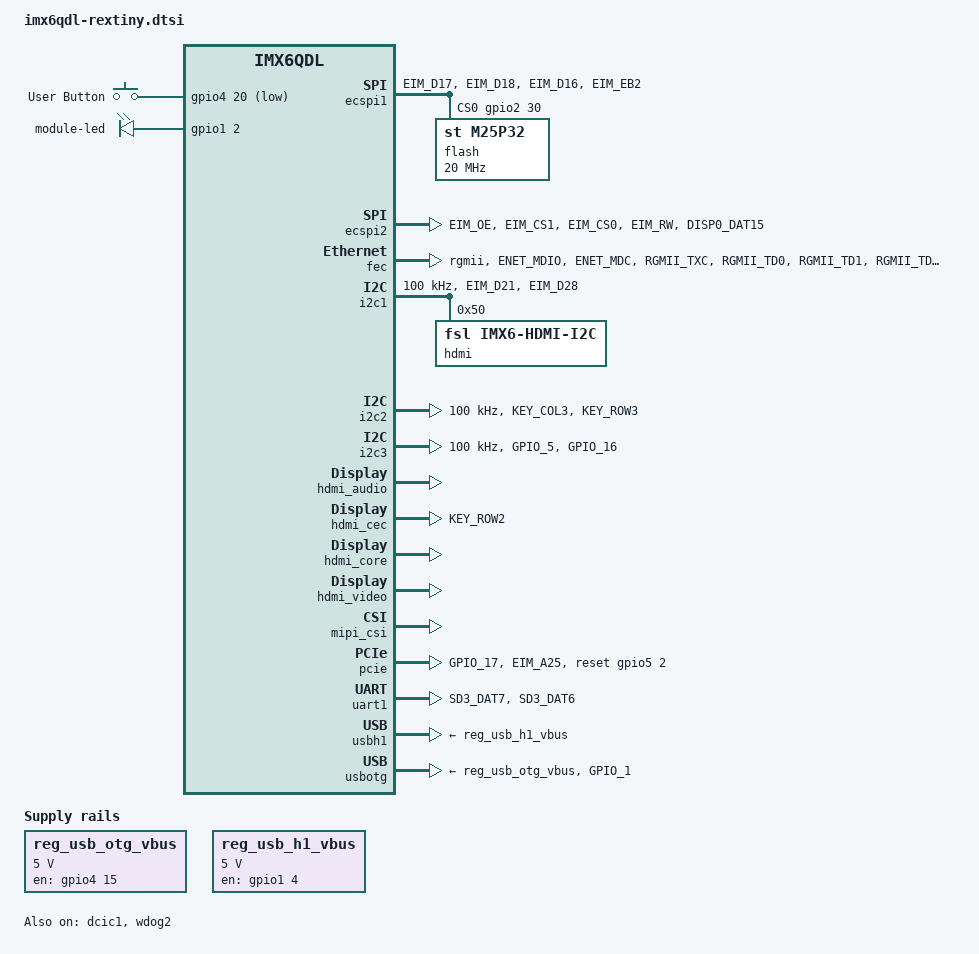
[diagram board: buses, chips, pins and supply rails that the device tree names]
/*
 * Copyright (C) 2015 Voipac.
 *
 * The code contained herein is licensed under the GNU General Public
 * License. You may obtain a copy of the GNU General Public License
 * Version 2 or later at the following locations:
 *
 * http://www.opensource.org/licenses/gpl-license.html
 * http://www.gnu.org/copyleft/gpl.html
 */

#include <dt-bindings/input/input.h>

/ {
	aliases {
		mxcfb0 = &mxcfb1;
		mxcfb1 = &mxcfb2;
		mxcfb2 = &mxcfb3;
		mxcfb3 = &mxcfb4;
	};

	gpio-keys {
		compatible = "gpio-keys";
		pinctrl-names = "default";
		pinctrl-0 = <&pinctrl_gpio_keys>;

		user {
			label = "User Button";
			gpios = <&gpio4 20 1>;
			gpio-key,wakeup;
			linux,code = <KEY_POWER>;
		};
	};

	leds {
		compatible = "gpio-leds";

		module-led {
			gpios = <&gpio1 2 0>;
			linux,default-trigger = "heartbeat";
			retain-state-suspended;
		};
	};

	mxcfb1: fb@0 {
		compatible = "fsl,mxc_sdc_fb";
		disp_dev = "hdmi";
		interface_pix_fmt = "RGB24";
		mode_str ="1920x1080M@60";
		default_bpp = <24>;
		int_clk = <0>;
		late_init = <0>;
		status = "disabled";
	};

	mxcfb2: fb@1 {
		compatible = "fsl,mxc_sdc_fb";
		disp_dev = "ldb";
		interface_pix_fmt = "RGB666";
		default_bpp = <16>;
		int_clk = <0>;
		late_init = <0>;
		status = "disabled";
	};

	mxcfb3: fb@2 {
		compatible = "fsl,mxc_sdc_fb";
		disp_dev = "lcd";
		interface_pix_fmt = "RGB565";
		mode_str ="CLAA-WVGA";
		default_bpp = <16>;
		int_clk = <0>;
		late_init = <0>;
		status = "disabled";
	};

	mxcfb4: fb@3 {
		compatible = "fsl,mxc_sdc_fb";
		disp_dev = "ldb";
		interface_pix_fmt = "RGB666";
		default_bpp = <16>;
		int_clk = <0>;
		late_init = <0>;
		status = "disabled";
	};

	regulators {
		compatible = "simple-bus";
		#address-cells = <1>;
		#size-cells = <0>;

		reg_usb_otg_vbus: regulator@0 {
			compatible = "regulator-fixed";
			reg = <0>;
			regulator-name = "usb_otg_vbus";
			regulator-min-microvolt = <5000000>;
			regulator-max-microvolt = <5000000>;
			gpio = <&gpio4 15 0>;
			enable-active-high;
		};

		reg_usb_h1_vbus: regulator@1 {
			compatible = "regulator-fixed";
			reg = <1>;
			regulator-name = "usb_h1_vbus";
			regulator-min-microvolt = <5000000>;
			regulator-max-microvolt = <5000000>;
			gpio = <&gpio1 4 0>;
			enable-active-high;
		};
	};

	sound-hdmi {
		compatible = "fsl,imx6q-audio-hdmi",
			     "fsl,imx-audio-hdmi";
		model = "imx-audio-hdmi";
		hdmi-controller = <&hdmi_audio>;
	};

	v4l2_cap_0 {
		compatible = "fsl,imx6q-v4l2-capture";
		ipu_id = <0>;
		csi_id = <0>;
		mclk_source = <0>;
		status = "okay";
	};

	v4l2_cap_1 {
		compatible = "fsl,imx6q-v4l2-capture";
		ipu_id = <0>;
		csi_id = <1>;
		mclk_source = <0>;
		status = "okay";
	};

	v4l2_out {
		compatible = "fsl,mxc_v4l2_output";
		status = "okay";
	};
};

&ecspi1 {
	fsl,spi-num-chipselects = <1>;
	cs-gpios = <&gpio2 30 0>;
	pinctrl-names = "default";
	pinctrl-0 = <&pinctrl_ecspi1>;
	status = "okay";

	flash: m25p80@0 {
		#address-cells = <1>;
		#size-cells = <1>;
		compatible = "st,m25p32";
		spi-max-frequency = <20000000>;
		reg = <0>;
	};
};

&ecspi2 {
	fsl,spi-num-chipselects = <2>;
	cs-gpios = <&gpio2 26 0>, <&gpio5 9 0>;
	pinctrl-names = "default";
	pinctrl-0 = <&pinctrl_ecspi2>;
	status = "okay";
};

&fec {
	pinctrl-names = "default";
	pinctrl-0 = <&pinctrl_enet>;
	phy-mode = "rgmii";
	phy-reset-gpios = <&gpio1 25 0>;
	fsl,magic-packet;
	status = "okay";
};

&i2c1 {
	clock-frequency = <100000>;
	pinctrl-names = "default";
	pinctrl-0 = <&pinctrl_i2c1>;
	status = "okay";

	hdmi: edid@50 {
		compatible = "fsl,imx6-hdmi-i2c";
		reg = <0x50>;
	};
};

&i2c2 {
	clock-frequency = <100000>;
	pinctrl-names = "default";
	pinctrl-0 = <&pinctrl_i2c2>;
	status = "okay";
};

&i2c3 {
	clock-frequency = <100000>;
	pinctrl-names = "default";
	pinctrl-0 = <&pinctrl_i2c3>;
	status = "okay";
};

&iomuxc {
	pinctrl-names = "default";
	pinctrl-0 = <&pinctrl_hog>;

	imx6qdl-sabresd {
		pinctrl_hog: hoggrp {
			fsl,pins = <
				MX6QDL_PAD_GPIO_2__GPIO1_IO02 		0x80000000 /* Leds */
				MX6QDL_PAD_KEY_ROW4__GPIO4_IO15 	0x80000000 /* USB0 Pwr */
				MX6QDL_PAD_GPIO_4__GPIO1_IO04 		0x80000000 /* USB1 Pwr */
			>;
		};

		pinctrl_ecspi1: ecspi1grp {
			fsl,pins = <
				MX6QDL_PAD_EIM_D17__ECSPI1_MISO		0x100b1
				MX6QDL_PAD_EIM_D18__ECSPI1_MOSI		0x100b1
				MX6QDL_PAD_EIM_D16__ECSPI1_SCLK		0x100b1
				MX6QDL_PAD_EIM_EB2__GPIO2_IO30		0x80000000 /* CS0 */
			>;
		};

		pinctrl_ecspi2: ecspi2grp {
			fsl,pins = <
				MX6QDL_PAD_EIM_OE__ECSPI2_MISO		0x100b1
				MX6QDL_PAD_EIM_CS1__ECSPI2_MOSI		0x100b1
				MX6QDL_PAD_EIM_CS0__ECSPI2_SCLK		0x100b1
				MX6QDL_PAD_EIM_RW__GPIO2_IO26		0x80000000 /* CS0 */
				MX6QDL_PAD_DISP0_DAT15__GPIO5_IO09	0x80000000 /* CS1 */
			>;
		};

		pinctrl_enet: enetgrp {
			fsl,pins = <
				MX6QDL_PAD_ENET_MDIO__ENET_MDIO		0x1b0b0
				MX6QDL_PAD_ENET_MDC__ENET_MDC		0x1b0b0
				MX6QDL_PAD_RGMII_TXC__RGMII_TXC		0x1b0b0
				MX6QDL_PAD_RGMII_TD0__RGMII_TD0		0x1b0b0
				MX6QDL_PAD_RGMII_TD1__RGMII_TD1		0x1b0b0
				MX6QDL_PAD_RGMII_TD2__RGMII_TD2		0x1b0b0
				MX6QDL_PAD_RGMII_TD3__RGMII_TD3		0x1b0b0
				MX6QDL_PAD_RGMII_TX_CTL__RGMII_TX_CTL	0x1b0b0
				MX6QDL_PAD_ENET_REF_CLK__ENET_TX_CLK	0x1b0b0
				MX6QDL_PAD_RGMII_RXC__RGMII_RXC		0x1b0b0
				MX6QDL_PAD_RGMII_RD0__RGMII_RD0		0x1b0b0
				MX6QDL_PAD_RGMII_RD1__RGMII_RD1		0x1b0b0
				MX6QDL_PAD_RGMII_RD2__RGMII_RD2		0x1b0b0
				MX6QDL_PAD_RGMII_RD3__RGMII_RD3		0x1b0b0
				MX6QDL_PAD_RGMII_RX_CTL__RGMII_RX_CTL	0x1b0b0
				MX6QDL_PAD_ENET_TX_EN__GPIO1_IO28	0x80000000 /* PHY Int */
				MX6QDL_PAD_ENET_RXD1__GPIO1_IO26	0x80000000 /* PHY Int */
				MX6QDL_PAD_ENET_CRS_DV__GPIO1_IO25	0x80000000 /* PHY Reset */
			>;
		};

		pinctrl_gpio_keys: gpio_keysgrp {
			fsl,pins = <
				MX6QDL_PAD_DI0_PIN4__GPIO4_IO20		0x80000000
			>;
		};

		pinctrl_hdmi_cec: hdmicecgrp {
			fsl,pins = <
				MX6QDL_PAD_KEY_ROW2__HDMI_TX_CEC_LINE	0x1f8b0
			>;
		};

		pinctrl_i2c1: i2c1grp {
			fsl,pins = <
				MX6QDL_PAD_EIM_D21__I2C1_SCL		0x4001b8b1
				MX6QDL_PAD_EIM_D28__I2C1_SDA		0x4001b8b1
			>;
		};

		pinctrl_i2c2: i2c2grp {
			fsl,pins = <
				MX6QDL_PAD_KEY_COL3__I2C2_SCL		0x4001b8b1
				MX6QDL_PAD_KEY_ROW3__I2C2_SDA		0x4001b8b1
			 >;
		};

		pinctrl_i2c3: i2c3grp {
			fsl,pins = <
				MX6QDL_PAD_GPIO_5__I2C3_SCL		0x4001b8b1
				MX6QDL_PAD_GPIO_16__I2C3_SDA		0x4001b8b1
			>;
		};

		pinctrl_pcie: pciegrp {
			fsl,pins = <
				MX6QDL_PAD_GPIO_17__GPIO7_IO12      	0x80000000 /* Wake */
				MX6QDL_PAD_EIM_A25__GPIO5_IO02		0x80000000 /* Reset */
			>;
		};

		pinctrl_pwm1: pwm1grp {
			fsl,pins = <
				MX6QDL_PAD_DISP0_DAT8__PWM1_OUT		0x1b0b1
			>;
		};

		pinctrl_pwm2: pwm2grp {
			fsl,pins = <
				MX6QDL_PAD_DISP0_DAT9__PWM2_OUT		0x1b0b1
			>;
		};

		pinctrl_uart1: uart1grp {
			fsl,pins = <
				MX6QDL_PAD_SD3_DAT7__UART1_TX_DATA	0x1b0b1
				MX6QDL_PAD_SD3_DAT6__UART1_RX_DATA	0x1b0b1
			>;
		};

		pinctrl_usbotg: usbotggrp {
			fsl,pins = <
				MX6QDL_PAD_GPIO_1__USB_OTG_ID		0x17059
			>;
		};

		pinctrl_usdhc1: usdhc1grp {
			fsl,pins = <
				MX6QDL_PAD_SD1_CMD__SD1_CMD		0x17059
				MX6QDL_PAD_SD1_CLK__SD1_CLK		0x10059
				MX6QDL_PAD_SD1_DAT0__SD1_DATA0		0x17059
				MX6QDL_PAD_SD1_DAT1__SD1_DATA1		0x17059
				MX6QDL_PAD_SD1_DAT2__SD1_DATA2		0x17059
				MX6QDL_PAD_SD1_DAT3__SD1_DATA3		0x17059
				MX6QDL_PAD_NANDF_D0__SD1_DATA4		0x17059
				MX6QDL_PAD_NANDF_D1__SD1_DATA5		0x17059
				MX6QDL_PAD_NANDF_D2__SD1_DATA6		0x17059
				MX6QDL_PAD_NANDF_D3__SD1_DATA7		0x17059
				MX6QDL_PAD_SD2_CLK__GPIO1_IO10		0x80000000 /* CD */
				MX6QDL_PAD_SD2_CMD__GPIO1_IO11		0x80000000 /* WP */
			>;
		};


		pinctrl_usdhc3: usdhc3grp {
			fsl,pins = <
				MX6QDL_PAD_SD3_CMD__SD3_CMD		0x17059
				MX6QDL_PAD_SD3_CLK__SD3_CLK		0x10059
				MX6QDL_PAD_SD3_DAT0__SD3_DATA0		0x17059
				MX6QDL_PAD_SD3_DAT1__SD3_DATA1		0x17059
				MX6QDL_PAD_SD3_DAT2__SD3_DATA2		0x17059
				MX6QDL_PAD_SD3_DAT3__SD3_DATA3		0x17059
				MX6QDL_PAD_SD3_RST__GPIO7_IO08		0x80000000 /* CD */
				MX6QDL_PAD_NANDF_CS3__GPIO6_IO16	0x80000000 /* WP */
			>;
		};

		pinctrl_usdhc4: usdhc4grp {
			fsl,pins = <
				MX6QDL_PAD_SD4_CMD__SD4_CMD		0x17059
				MX6QDL_PAD_SD4_CLK__SD4_CLK		0x10059
				MX6QDL_PAD_SD4_DAT0__SD4_DATA0		0x17059
				MX6QDL_PAD_SD4_DAT1__SD4_DATA1		0x17059
				MX6QDL_PAD_SD4_DAT2__SD4_DATA2		0x17059
				MX6QDL_PAD_SD4_DAT3__SD4_DATA3		0x17059
				MX6QDL_PAD_SD4_DAT4__SD4_DATA4		0x17059
				MX6QDL_PAD_SD4_DAT5__SD4_DATA5		0x17059
				MX6QDL_PAD_SD4_DAT6__SD4_DATA6		0x17059
				MX6QDL_PAD_SD4_DAT7__SD4_DATA7		0x17059
				MX6QDL_PAD_NANDF_CS0__GPIO6_IO11	0x80000000 /* CD */
				MX6QDL_PAD_NANDF_CS1__GPIO6_IO14	0x80000000 /* WP */
			>;
		};

	};
};

&dcic1 {
	dcic_id = <0>;
	dcic_mux = "dcic-hdmi";
	status = "okay";
};

&gpc {
	/* use ldo-bypass, u-boot will check it and configure */
	fsl,ldo-bypass = <1>;
	fsl,wdog-reset = <2>;
};

&hdmi_audio {
	status = "okay";
};

&hdmi_cec {
	pinctrl-names = "default";
	pinctrl-0 = <&pinctrl_hdmi_cec>;
	status = "okay";
};

&hdmi_core {
	ipu_id = <0>;
	disp_id = <0>;
	status = "okay";
};

&hdmi_video {
	fsl,phy_reg_vlev = <0x0294>;
	fsl,phy_reg_cksymtx = <0x800d>;
	status = "okay";
};

&mipi_csi {
	status = "okay";
	ipu_id = <0>;
	csi_id = <1>;
	v_channel = <0>;
	lanes = <2>;
};

&pcie {
	pinctrl-names = "default";
	pinctrl-0 = <&pinctrl_pcie>;
	reset-gpio = <&gpio5 2 0>;
	status = "okay";
};

&pwm1 {
	pinctrl-names = "default";
	pinctrl-0 = <&pinctrl_pwm1>;
	status = "disabled";
};

&pwm2 {
	pinctrl-names = "default";
	pinctrl-0 = <&pinctrl_pwm2>;
	status = "disabled";
};

&uart1 {
	pinctrl-names = "default";
	pinctrl-0 = <&pinctrl_uart1>;
	status = "okay";
};

&usbh1 {
	vbus-supply = <&reg_usb_h1_vbus>;
	status = "okay";
};

&usbotg {
	vbus-supply = <&reg_usb_otg_vbus>;
	pinctrl-names = "default";
	pinctrl-0 = <&pinctrl_usbotg>;
	disable-over-current;
	status = "okay";
};

&usdhc1 {
	pinctrl-names = "default";
	pinctrl-0 = <&pinctrl_usdhc1>;
	bus-width = <8>;
	cd-gpios = <&gpio1 10 0>;
	wp-gpios = <&gpio1 11 0>;
	no-1-8-v;
	keep-power-in-suspend;
	enable-sdio-wakeup;
	status = "disabled";
};

&usdhc3 {
	pinctrl-names = "default";
	pinctrl-0 = <&pinctrl_usdhc3>;
	bus-width = <4>;
	cd-gpios = <&gpio7 8 0>;
	wp-gpios = <&gpio6 16 0>;
	non-removable;
	no-1-8-v;
	keep-power-in-suspend;
	status = "disabled";
};

&usdhc4 {
	pinctrl-names = "default";
	pinctrl-0 = <&pinctrl_usdhc4>;
	bus-width = <8>;
	cd-gpios = <&gpio6 11 0>;
	wp-gpios = <&gpio6 14 0>;
	no-1-8-v;
	keep-power-in-suspend;
	enable-sdio-wakeup;
	status = "disabled";
};

&wdog1 {
	status = "disabled";
};

&wdog2 {
	status = "okay";
};
